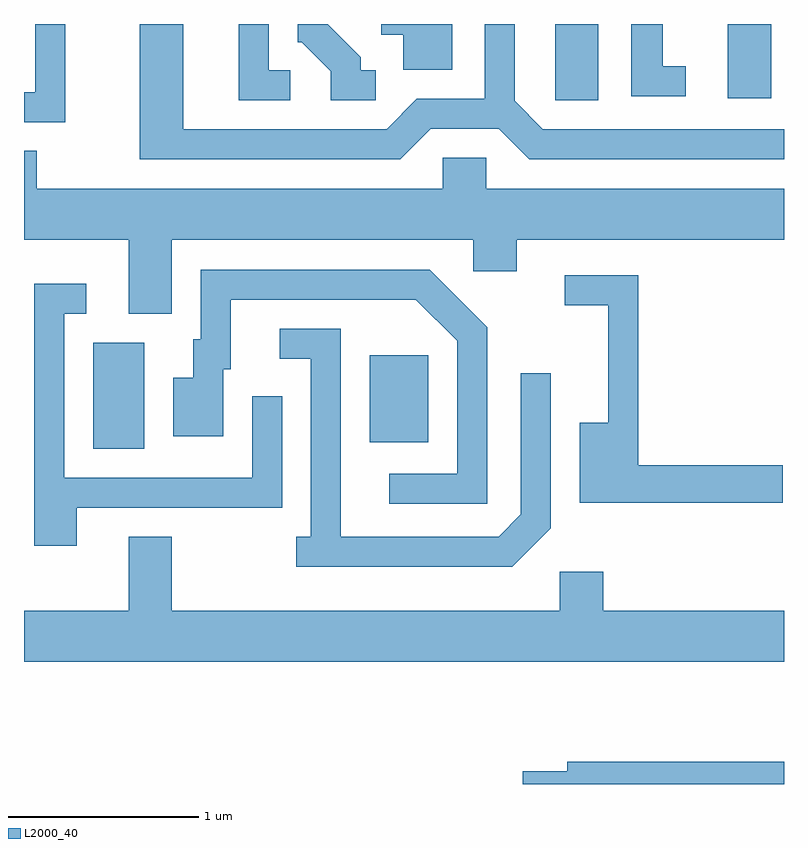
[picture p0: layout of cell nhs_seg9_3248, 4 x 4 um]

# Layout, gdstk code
import gdstk
lib = gdstk.Library(unit=1e-6, precision=1e-09)
def R(c, l, rs):  # rectangles x0, y0, x1, y1
    for r in rs: c.add(gdstk.rectangle(r[:2], r[2:], *l))
def P(c, l, *ps):  # polygons
    for p in ps: c.add(gdstk.Polygon(p, *l))
L2000_40 = (2000, 40)

nhs_seg9_3248 = lib.new_cell('nhs_seg9_3248')
R(nhs_seg9_3248, L2000_40, [(279.976,2066.196,280.244,2066.754), (281.431,2066.231,281.739,2066.689), (282.406,2068.031,282.634,2068.432), (283.316,2068.041,283.544,2068.432)])
P(nhs_seg9_3248, L2000_40, [(281.752,2067.881),(282.109,2067.881),(282.269,2067.721),(283.611,2067.721),(283.611,2067.879),(282.342,2067.879),(282.194,2068.027),(282.194,2068.432),(282.036,2068.432),(282.036,2068.039),(281.679,2068.039),(281.519,2067.879),(280.449,2067.879),(280.449,2068.432),(280.221,2068.432),(280.221,2067.721),(281.592,2067.721)],
  [(283.093,2068.209),(282.974,2068.209),(282.974,2068.432),(282.806,2068.432),(282.806,2068.051),(283.093,2068.051)],
  [(281.463,2068.189),(281.384,2068.189),(281.384,2068.257),(281.209,2068.432),(281.051,2068.432),(281.051,2068.336),(281.074,2068.336),(281.226,2068.184),(281.226,2068.031),(281.463,2068.031)],
  [(281.864,2068.432),(281.491,2068.432),(281.491,2068.376),(281.606,2068.376),(281.606,2068.191),(281.864,2068.191)],
  [(281.013,2068.189),(280.899,2068.189),(280.899,2068.432),(280.741,2068.432),(280.741,2068.031),(281.013,2068.031)],
  [(279.829,2068.432),(279.671,2068.432),(279.671,2068.074),(279.611,2068.074),(279.611,2067.916),(279.829,2067.916)],
  [(280.389,2067.296),(281.976,2067.296),(281.976,2067.131),(282.204,2067.131),(282.204,2067.296),(283.611,2067.296),(283.611,2067.564),(282.044,2067.564),(282.044,2067.729),(281.816,2067.729),(281.816,2067.564),(279.679,2067.564),(279.679,2067.764),(279.611,2067.764),(279.611,2067.296),(280.161,2067.296),(280.161,2066.906),(280.389,2066.906)],
  [(282.049,2066.837),(281.747,2067.139),(280.541,2067.139),(280.541,2066.774),(280.501,2066.774),(280.501,2066.569),(280.396,2066.569),(280.396,2066.261),(280.659,2066.261),(280.659,2066.616),(280.699,2066.616),(280.699,2066.981),(281.674,2066.981),(281.891,2066.764),(281.891,2066.064),(281.533,2066.064),(281.533,2065.906),(282.049,2065.906)],
  [(283.604,2066.109),(282.844,2066.109),(282.844,2067.109),(282.458,2067.109),(282.458,2066.951),(282.686,2066.951),(282.686,2066.334),(282.536,2066.334),(282.536,2065.911),(283.604,2065.911)],
  [(279.889,2065.886),(280.969,2065.886),(280.969,2066.472),(280.811,2066.472),(280.811,2066.044),(279.824,2066.044),(279.824,2066.906),(279.938,2066.906),(279.938,2067.064),(279.666,2067.064),(279.666,2065.686),(279.889,2065.686)],
  [(282.384,2065.779),(282.384,2066.593),(282.226,2066.593),(282.226,2065.852),(282.109,2065.734),(281.279,2065.734),(281.279,2066.829),(280.958,2066.829),(280.958,2066.671),(281.121,2066.671),(281.121,2065.734),(281.043,2065.734),(281.043,2065.576),(282.182,2065.576)],
  [(283.611,2065.344),(282.659,2065.344),(282.659,2065.549),(282.431,2065.549),(282.431,2065.344),(280.389,2065.344),(280.389,2065.734),(280.161,2065.734),(280.161,2065.344),(279.611,2065.344),(279.611,2065.076),(283.611,2065.076)],
  [(283.611,2064.549),(282.471,2064.549),(282.471,2064.499),(282.236,2064.499),(282.236,2064.432),(283.611,2064.432)])

lib.write_gds('nhs_seg9_3248.gds')
